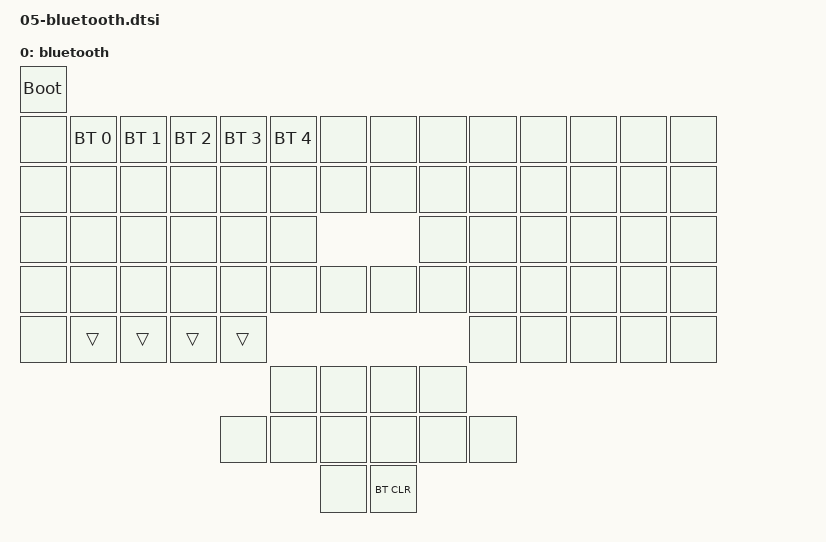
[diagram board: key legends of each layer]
/ {
  keymap {
    compatible = "zmk,keymap";

    // https://zmk.dev/docs/codes

    bluetooth { // BT
      bindings = <
        &bootloader
        &none        &bt BT_SEL 0 &bt BT_SEL 1 &bt BT_SEL 2 &bt BT_SEL 3  &bt BT_SEL 4  &none             &none          &none         &none        &none        &none        &none         &none
        &none        &none        &none        &none        &none         &none         &none             &none          &none         &none        &none        &none        &none         &none
        &none        &none        &none        &none        &none         &none                                          &none         &none        &none        &none        &none         &none
        &none        &none        &none        &none        &none         &none         &none             &none          &none         &none        &none        &none        &none         &none
        &none        &trans       &trans       &trans       &trans                                                                     &none        &none        &none        &none         &none
                                                                          &none         &none             &none          &none
                                                            &none         &none         &none             &none          &none         &none
                                                                                        &none             &bt BT_CLR
      >;
    };
  };
};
